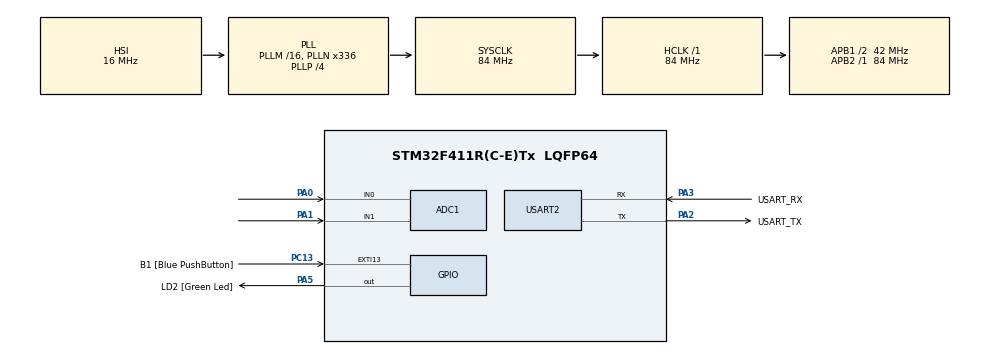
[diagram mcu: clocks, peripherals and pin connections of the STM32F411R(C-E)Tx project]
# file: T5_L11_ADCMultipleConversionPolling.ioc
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ADC1.Channel-0\#ChannelRegularConversion=ADC_CHANNEL_0
ADC1.ClockPrescaler=ADC_CLOCK_SYNC_PCLK_DIV8
ADC1.NbrOfConversionFlag=1
ADC1.Rank-0\#ChannelRegularConversion=1
ADC1.SamplingTime-0\#ChannelRegularConversion=ADC_SAMPLETIME_3CYCLES
ADC1.master=1
Mcu.Family=STM32F4
Mcu.Name=STM32F411R(C-E)Tx
Mcu.Package=LQFP64
NVIC.PriorityGroup=NVIC_PRIORITYGROUP_0
PA0-WKUP.Signal=ADCx_IN0
PA1.Signal=ADCx_IN1
PA13.GPIO_Label=TMS
PA13.Mode=Serial_Wire
PA13.Signal=SYS_JTMS-SWDIO
PA14.GPIO_Label=TCK
PA14.Mode=Serial_Wire
PA14.Signal=SYS_JTCK-SWCLK
PA2.GPIO_Label=USART_TX
PA2.Mode=Asynchronous
PA2.Signal=USART2_TX
PA3.GPIO_Label=USART_RX
PA3.Mode=Asynchronous
PA3.Signal=USART2_RX
PA5.GPIO_Label=LD2 [Green Led]
PA5.Signal=GPIO_Output
PB3.GPIO_Label=SWO
PB3.Signal=SYS_JTDO-SWO
PC13-ANTI_TAMP.GPIO_Label=B1 [Blue PushButton]
PC13-ANTI_TAMP.GPIO_ModeDefaultEXTI=GPIO_MODE_IT_FALLING
PC13-ANTI_TAMP.Signal=GPXTI13
PC14-OSC32_IN.Mode=LSE-External-Oscillator
PC14-OSC32_IN.Signal=RCC_OSC32_IN
PC15-OSC32_OUT.Mode=LSE-External-Oscillator
PC15-OSC32_OUT.Signal=RCC_OSC32_OUT
PH0\ -\ OSC_IN.Mode=HSE-External-Clock-Source
PH0\ -\ OSC_IN.Signal=RCC_OSC_IN
PH1\ -\ OSC_OUT.Mode=HSE-External-Clock-Source
PH1\ -\ OSC_OUT.Signal=RCC_OSC_OUT
ProjectManager.HeapSize=0x200
ProjectManager.StackSize=0x400
ProjectManager.TargetToolchain=STM32CubeIDE
RCC.48MHZClocksFreq_Value=84000000
RCC.AHBFreq_Value=84000000
RCC.APB1CLKDivider=RCC_HCLK_DIV2
RCC.APB1Freq_Value=42000000
RCC.APB1TimFreq_Value=84000000
RCC.APB2Freq_Value=84000000
RCC.APB2TimFreq_Value=84000000
RCC.CortexFreq_Value=84000000
RCC.FLatency-AdvancedSettings=FLASH_LATENCY_2
RCC.HCLKFreq_Value=84000000
RCC.HSE_VALUE=8000000
RCC.HSI_VALUE=16000000
RCC.PLLN=336
RCC.PLLP=RCC_PLLP_DIV4
RCC.SYSCLKFreq_VALUE=84000000
RCC.SYSCLKSource=RCC_SYSCLKSOURCE_PLLCLK
RCC.VCOOutputFreq_Value=336000000
SH.ADCx_IN0.0=ADC1_IN0,IN0
SH.ADCx_IN1.0=ADC1_IN1,IN1
USART2.VirtualMode=VM_ASYNC
board=NUCLEO-F411RE

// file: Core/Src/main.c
/* USER CODE BEGIN Header */
/**
  ******************************************************************************
  * @file           : main.c
  * @brief          : Main program body
  ******************************************************************************
  * @attention
  *
  * Copyright (c) 2022 STMicroelectronics.
  * All rights reserved.
  *
  * This software is licensed under terms that can be found in the LICENSE file
  * in the root directory of this software component.
  * If no LICENSE file comes with this software, it is provided AS-IS.
  *
  ******************************************************************************
  */
/* USER CODE END Header */
#include "main.h"
#include "adc.h"
#include "usart.h"
#include "gpio.h"

/* USER CODE BEGIN PV */
uint16_t AdcValueX;
uint16_t AdcValueY;
/* USER CODE END PV */

void SystemClock_Config(void);
/* USER CODE BEGIN PFP */
void SetChannel(uint32_t Channel);
/* USER CODE END PFP */

int main(void)
{

  /* MCU Configuration--------------------------------------------------------*/

  /* Reset of all peripherals, Initializes the Flash interface and the Systick. */
  HAL_Init();

  /* Configure the system clock */
  SystemClock_Config();

  /* Initialize all configured peripherals */
  MX_GPIO_Init();
  MX_USART2_UART_Init();
  MX_ADC1_Init();

  /* Infinite loop */
  /* USER CODE BEGIN WHILE */
  while (1)
  {
	  //SWITCH to CH0
	  SetChannel(ADC_CHANNEL_0);
	  // CH0
	  HAL_ADC_Start(&hadc1);

	  if(HAL_ADC_PollForConversion(&hadc1, 1000) == HAL_OK)
	  {
		  AdcValueX = HAL_ADC_GetValue(&hadc1);
	  }

	  //SWITCH to CH1
	  SetChannel(ADC_CHANNEL_1);
	  //CH1
	  HAL_ADC_Start(&hadc1);

	  if(HAL_ADC_PollForConversion(&hadc1, 1000) == HAL_OK)
	  {
		  AdcValueY = HAL_ADC_GetValue(&hadc1);
	  }
	  HAL_Delay(50);
    /* USER CODE END WHILE */

  }
}

void SystemClock_Config(void)
{
  RCC_OscInitTypeDef RCC_OscInitStruct = {0};
  RCC_ClkInitTypeDef RCC_ClkInitStruct = {0};

  /** Configure the main internal regulator output voltage
  */
  __HAL_RCC_PWR_CLK_ENABLE();
  __HAL_PWR_VOLTAGESCALING_CONFIG(PWR_REGULATOR_VOLTAGE_SCALE1);

  /** Initializes the RCC Oscillators according to the specified parameters
  * in the RCC_OscInitTypeDef structure.
  */
  RCC_OscInitStruct.OscillatorType = RCC_OSCILLATORTYPE_HSI;
  RCC_OscInitStruct.HSIState = RCC_HSI_ON;
  RCC_OscInitStruct.HSICalibrationValue = RCC_HSICALIBRATION_DEFAULT;
  RCC_OscInitStruct.PLL.PLLState = RCC_PLL_ON;
  RCC_OscInitStruct.PLL.PLLSource = RCC_PLLSOURCE_HSI;
  RCC_OscInitStruct.PLL.PLLM = 16;
  RCC_OscInitStruct.PLL.PLLN = 336;
  RCC_OscInitStruct.PLL.PLLP = RCC_PLLP_DIV4;
  RCC_OscInitStruct.PLL.PLLQ = 4;
  if (HAL_RCC_OscConfig(&RCC_OscInitStruct) != HAL_OK)
  {
    Error_Handler();
  }

  /** Initializes the CPU, AHB and APB buses clocks
  */
  RCC_ClkInitStruct.ClockType = RCC_CLOCKTYPE_HCLK|RCC_CLOCKTYPE_SYSCLK
                              |RCC_CLOCKTYPE_PCLK1|RCC_CLOCKTYPE_PCLK2;
  RCC_ClkInitStruct.SYSCLKSource = RCC_SYSCLKSOURCE_PLLCLK;
  RCC_ClkInitStruct.AHBCLKDivider = RCC_SYSCLK_DIV1;
  RCC_ClkInitStruct.APB1CLKDivider = RCC_HCLK_DIV2;
  RCC_ClkInitStruct.APB2CLKDivider = RCC_HCLK_DIV1;

  if (HAL_RCC_ClockConfig(&RCC_ClkInitStruct, FLASH_LATENCY_2) != HAL_OK)
  {
    Error_Handler();
  }
}

/* USER CODE BEGIN 4 */
void SetChannel(uint32_t Channel)
{
	  ADC_ChannelConfTypeDef sConfig = {0};

	  sConfig.Channel = Channel;
	  sConfig.Rank = 1;
	  sConfig.SamplingTime = ADC_SAMPLETIME_3CYCLES;
	  if (HAL_ADC_ConfigChannel(&hadc1, &sConfig) != HAL_OK)
	  {
	    Error_Handler();
	  }
}
/* USER CODE END 4 */

void Error_Handler(void)
{
  __disable_irq();
  while (1)
  {
  }
}
